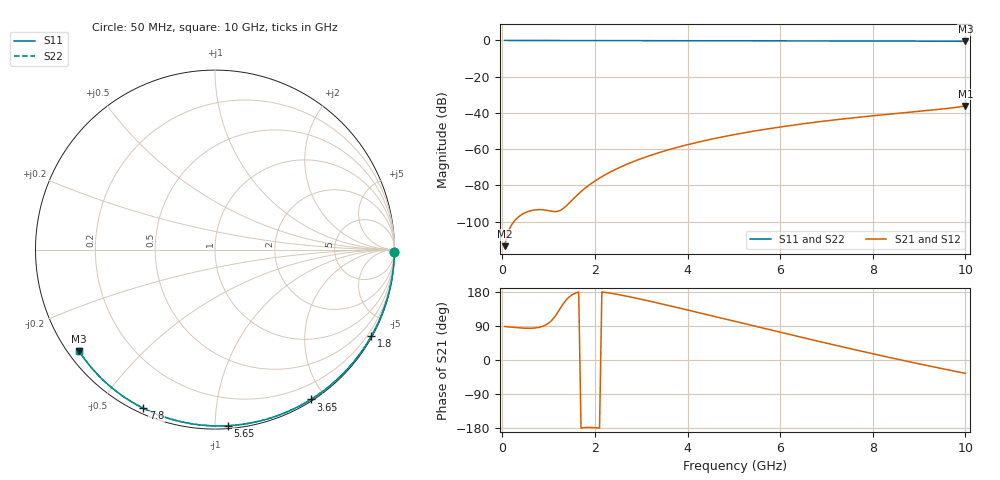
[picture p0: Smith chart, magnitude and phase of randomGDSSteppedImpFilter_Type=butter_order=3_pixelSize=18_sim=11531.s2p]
! freq	dB(S11)	phase(S11)	dB(S12)	phase(S12)
!  dB(S21)	phase(S21)	dB(S22)	phase(S22)
!S-par simulation data
#  GHz  S  DB  R 50
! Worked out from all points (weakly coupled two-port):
!   200 points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, 50 MHz to 10 GHz, reference 50 ohm
!   highest |S21| = -36.17 dB at 10 GHz (marker M1); lowest = -113.5 dB at 50 MHz (marker M2)
!   lowest |S11| = -0.5 dB at 10 GHz (marker M3), VSWR 35.38, Z = 1.57 - j16.6 ohm
!   |S11| at or under -10 dB: nowhere
!   |S22| runs from -0.5 to 0.0 dB; largest |S21 - S12| = 0
!   S11 on the Smith chart (normalised r, x): 50 MHz: open; 1.8 GHz: 0.03, -3.86; 3.65 GHz: 0.02, -1.83; 5.65 GHz: 0.02, -1.07; 7.8 GHz: 0.02, -0.64; 10 GHz: 0.03, -0.33
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0.05  -0.00 -0.8  -113.47 88.4  -113.47 88.4  -0.00 -0.8
0.45  -0.01 -7.3  -95.56 84.1  -95.56 84.1  -0.01 -7.3
0.9  -0.02 -14.6  -93.47 90.2  -93.47 90.2  -0.02 -14.6
1.75  -0.04 -28.2  -82.27 -178.6  -82.27 -178.6  -0.04 -28.2
1.8  -0.04 -29.0  -81.23 -178.1  -81.23 -178.1  -0.04 -29.0
1.85  -0.04 -29.8  -80.25 -177.9  -80.25 -177.9  -0.04 -29.8
2.2  -0.04 -35.3  -74.41 178.8  -74.41 178.8  -0.04 -35.3
2.55  -0.05 -40.7  -69.85 171.6  -69.85 171.6  -0.05 -40.7
2.95  -0.06 -46.9  -65.64 161.5  -65.64 161.5  -0.06 -46.9
3.4  -0.07 -53.7  -61.75 149.2  -61.75 149.2  -0.07 -53.7
3.65  -0.08 -57.4  -59.87 142.1  -59.87 142.1  -0.08 -57.4
4.3  -0.09 -66.9  -55.67 123.2  -55.67 123.2  -0.09 -66.9
5.05  -0.12 -77.6  -51.74 101.1  -51.74 101.1  -0.12 -77.6
5.65  -0.14 -85.9  -49.11 83.5  -49.11 83.5  -0.14 -85.9
6.15  -0.16 -92.7  -47.18 68.9  -47.18 68.9  -0.16 -92.7
6.7  -0.19 -100.0  -45.30 53.0  -45.30 53.0  -0.19 -100.0
7.25  -0.23 -107.2  -43.61 37.3  -43.61 37.3  -0.23 -107.2
7.8  -0.27 -114.3  -42.08 22.0  -42.08 22.0  -0.27 -114.4
8.35  -0.31 -121.4  -40.68 6.9  -40.68 6.9  -0.31 -121.4
9.2  -0.39 -132.4  -38.61 -15.3  -38.61 -15.3  -0.39 -132.4
9.65  -0.44 -138.3  -37.40 -26.6  -37.40 -26.6  -0.44 -138.4
10  -0.49 -143.2  -36.17 -35.4  -36.17 -35.4  -0.49 -143.2
